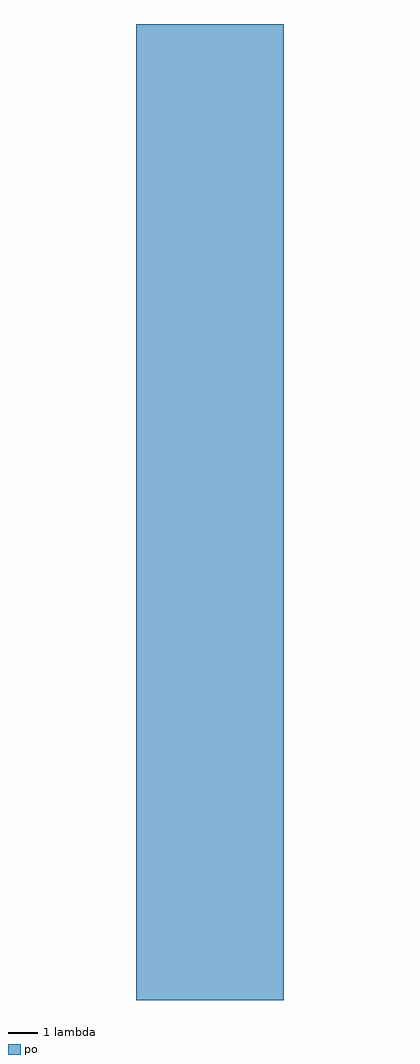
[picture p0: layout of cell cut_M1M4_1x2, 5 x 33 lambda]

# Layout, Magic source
magic
tech tech
magscale 1 2
<< po >>
rect 0 0 10 66
rect 0 15 10 25
rect 0 41 10 51
rect 0 0 10 66
rect 0 15 10 25
rect 0 41 10 51
rect 0 0 10 66
rect 0 15 10 25
rect 0 41 10 51
rect 0 0 10 66
<< labels >>
<< properties >>
string FIXED_BBOX 0 0 10 66
<< end >>
